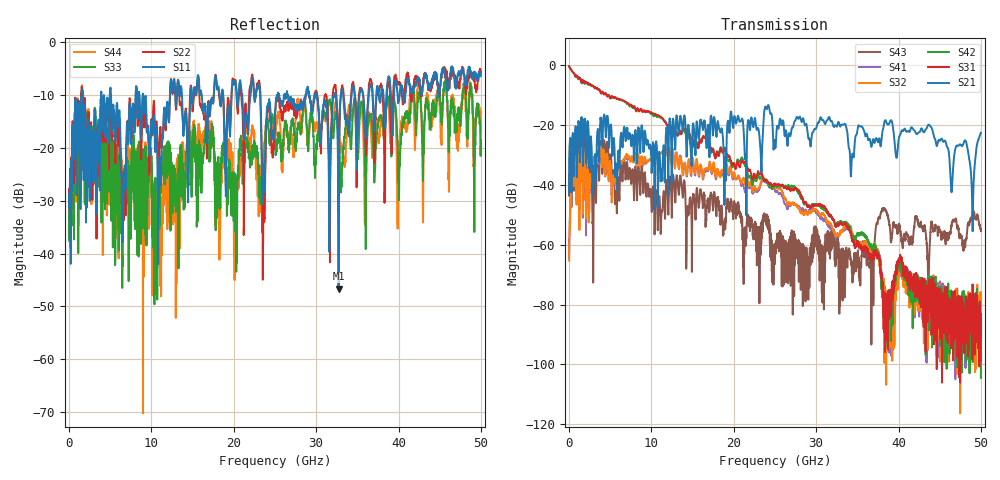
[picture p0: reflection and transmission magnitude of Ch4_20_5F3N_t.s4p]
!Agilent Technologies,N5247A,US51170199,A.09.90.13
!Agilent N5247A: A.09.90.13
!Date: Monday, December 14, 2015 15:20:18
!Correction: S11(Full 4 Port(1,2,3,4))
!S12(Full 4 Port(1,2,3,4))
!S13(Full 4 Port(1,2,3,4))
!S14(Full 4 Port(1,2,3,4))
!S21(Full 4 Port(1,2,3,4))
!S22(Full 4 Port(1,2,3,4))
!S23(Full 4 Port(1,2,3,4))
!S24(Full 4 Port(1,2,3,4))
!S31(Full 4 Port(1,2,3,4))
!S32(Full 4 Port(1,2,3,4))
!S33(Full 4 Port(1,2,3,4))
!S34(Full 4 Port(1,2,3,4))
!S41(Full 4 Port(1,2,3,4))
!S42(Full 4 Port(1,2,3,4))
!S43(Full 4 Port(1,2,3,4))
!S44(Full 4 Port(1,2,3,4))
!S4P File: Measurements: <S11,S12,S13,S14>,
!<S21,S22,S23,S24>,
!<S31,S32,S33,S34>,
!<S41,S42,S43,S44>:
# Hz S  dB  R 50
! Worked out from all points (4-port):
!   3201 points, 10 MHz to 50 GHz, reference 50 ohm
!   strongest paths, dB at 10 MHz, 12.51 GHz, 25 GHz, 37.5 GHz, 50 GHz:
!     S21: -43.3, -26.9, -26.4, -25.8, -22.6
!     S31: -0.3, -21.9, -39.8, -63.8, -83.3
!     S42: -0.4, -22.0, -40.1, -62.9, -104.5
!     S32: -65.3, -29.7, -41.0, -61.6, -80.7
!     S41: -64.5, -29.4, -41.9, -63.0, -87.8
!     S43: -43.6, -45.2, -62.8, -51.7, -55.5
!   lowest |S11| = -46.7 dB at 32.72 GHz (marker M1), VSWR 1.01, Z = 50.4 - j0.307 ohm
!   |S11| at or under -10 dB: 1.623 GHz to 3.899 GHz (2.277 GHz wide, 82.5 % of centre); 5.084 GHz to 8.08 GHz (2.995 GHz wide, 45.5 % of centre); 8.985 GHz to 12.26 GHz (3.272 GHz wide, 30.8 % of centre)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
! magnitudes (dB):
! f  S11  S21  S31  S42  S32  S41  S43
! 10 MHz  -30.5  -43.3  -0.3  -0.4  -65.3  -64.5  -43.6
! 900.4 MHz  -13.7  -24.7  -3.7  -3.8  -39.2  -38.8  -27.9
! 11.59 GHz  -12.4  -32.0  -18.7  -18.8  -29.1  -29.0  -45.2
! 32.72 GHz  -46.7  -19.0  -53.6  -52.5  -56.8  -56.4  -63.5
! 38.39 GHz  -16.1  -18.4  -83.8  -79.1  -79.4  -77.5  -48.5
! 48.97 GHz  -7.0  -50.9  -98.3  -80.6  -84.2  -73.3  -50.1
! 50 GHz  -5.8  -22.6  -83.3  -104.5  -80.7  -87.8  -55.5
